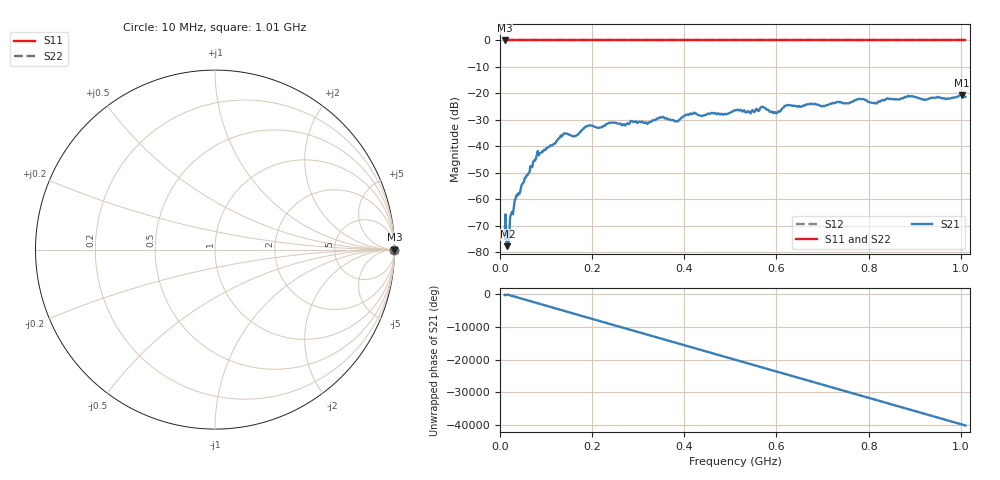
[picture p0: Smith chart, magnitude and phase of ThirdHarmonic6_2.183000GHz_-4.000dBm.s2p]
! 8/17/2025 2:01:57 AM
! C:\ANRITSUVNA\TEMP\TEMP.S2P
! CHANNEL.1
! TR.MEASUREMENT
! RAW.DATA
! RF.CORRECTION.OFF
! AVERAGING.OFF
! IF.BANDWIDTH: 5KHZ
! SWEEPTYPE:  FREQ.SWEEP(Linear)
! Reference Plane Port Info
! PORT:  PORT1  PORT2
! DISTANCE:  0  m  0  m
! TIME:  0  s  0  s
! PHASE.OFFSET:  0  deg.  0  deg.
! LOSS:  0  dB  0  dB
! REF.LOSS:  0  dB  0  dB
! REF.FREQ:  0  Hz  0  Hz
! Power Info
! POWER:  -20  dBm  -20  dBm
! EFF.POWER:  -20  dBm  -20  dBm
! SOURCE.ATTEN:  0  dB  0  dB
! TEST.ATTEN:  0  dB  0  dB
# GHZ S RI R 50.0
! FREQ.GHZ  S11RE  S11IM  S21RE  S21IM  S12RE  S12IM  S22RE  S22IM
!; PortSelection: Port_12
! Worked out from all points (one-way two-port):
!   501 points, 10 MHz to 1.01 GHz, reference 50 ohm
!   highest |S21| = -20.64 dB at 1.002 GHz (marker M1); lowest = -77.7 dB at 16 MHz (marker M2)
!   lowest |S11| = 0.0 dB at 10 MHz (marker M3)
!   |S11| at or under -10 dB: nowhere
!   |S22| runs from 0.0 to 0.0 dB; largest |S21 - S12| = 1.1
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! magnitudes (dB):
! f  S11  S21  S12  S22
! 10 MHz  0.0  -74.8  0.0  0.0
! 16 MHz  0.0  -77.7  0.0  0.0
! 18 MHz  0.0  -77.2  0.0  0.0
! 26 MHz  0.0  -64.7  0.0  0.0
! 36 MHz  0.0  -58.3  0.0  0.0
! 78 MHz  0.0  -44.5  0.0  0.0
! 136 MHz  0.0  -35.7  0.0  0.0
! 162 MHz  0.0  -36.2  0.0  0.0
! 178 MHz  0.0  -33.8  0.0  0.0
! 344 MHz  0.0  -29.5  0.0  0.0
! 382 MHz  0.0  -30.5  0.0  0.0
! 418 MHz  0.0  -27.8  0.0  0.0
! 510 MHz  0.0  -26.4  0.0  0.0
! 570 MHz  0.0  -25.0  0.0  0.0
! 598 MHz  0.0  -27.3  0.0  0.0
! 622 MHz  0.0  -24.6  0.0  0.0
! 678 MHz  0.0  -24.1  0.0  0.0
! 780 MHz  0.0  -22.1  0.0  0.0
! 814 MHz  0.0  -23.6  0.0  0.0
! 844 MHz  0.0  -22.1  0.0  0.0
! 1.002 GHz  0.0  -20.6  0.0  0.0
! 1.01 GHz  0.0  -21.3  0.0  0.0
